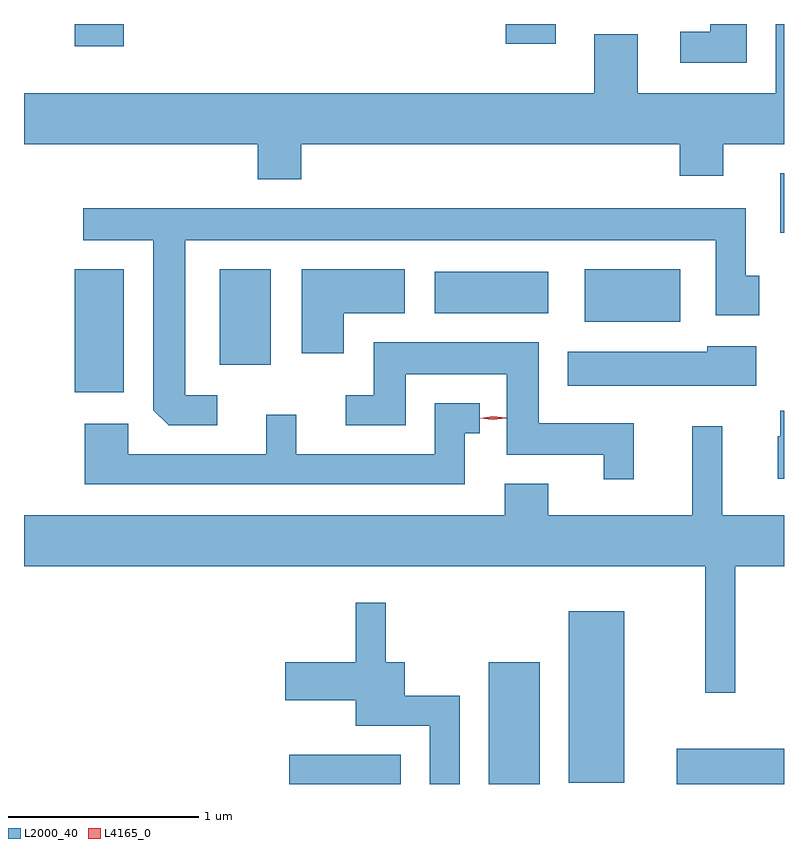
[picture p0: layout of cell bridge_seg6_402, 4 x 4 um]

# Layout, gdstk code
import gdstk
lib = gdstk.Library(unit=1e-6, precision=1e-09)
def R(c, l, rs):  # rectangles x0, y0, x1, y1
    for r in rs: c.add(gdstk.rectangle(r[:2], r[2:], *l))
def P(c, l, *ps):  # polygons
    for p in ps: c.add(gdstk.Polygon(p, *l))
L2000_40 = (2000, 40)
L4165_0 = (4165, 0)

bridge_seg6_402 = lib.new_cell('bridge_seg6_402')
R(bridge_seg6_402, L2000_40, [(904.226,1606.609,904.814,1606.764), (905.276,1606.609,905.544,1607.249), (906.266,1606.609,906.83,1606.794), (905.696,1606.616,905.989,1607.519), (903.096,1608.671,903.354,1609.319), (903.861,1608.816,904.129,1609.319), (905.781,1609.041,906.284,1609.319), (904.991,1609.086,905.589,1609.304), (906.811,1609.511,906.83,1609.824), (903.096,1610.491,903.354,1610.609), (905.366,1610.506,905.629,1610.609)])
P(bridge_seg6_402, L2000_40, [(906.634,1610.609),(906.441,1610.609),(906.441,1610.569),(906.283,1610.569),(906.283,1610.406),(906.634,1610.406)],
  [(904.289,1609.976),(906.281,1609.976),(906.281,1609.811),(906.509,1609.811),(906.509,1609.976),(906.83,1609.976),(906.83,1610.609),(906.786,1610.609),(906.786,1610.244),(906.059,1610.244),(906.059,1610.554),(905.831,1610.554),(905.831,1610.244),(902.83,1610.244),(902.83,1609.976),(904.061,1609.976),(904.061,1609.791),(904.289,1609.791)],
  [(903.848,1608.654),(903.679,1608.654),(903.679,1609.471),(906.471,1609.471),(906.471,1609.076),(906.699,1609.076),(906.699,1609.284),(906.629,1609.284),(906.629,1609.639),(903.143,1609.639),(903.143,1609.471),(903.511,1609.471),(903.511,1608.577),(903.592,1608.496),(903.848,1608.496)],
  [(904.514,1609.086),(904.834,1609.086),(904.834,1609.319),(904.291,1609.319),(904.291,1608.876),(904.514,1608.876)],
  [(906.039,1608.509),(905.539,1608.509),(905.539,1608.934),(904.671,1608.934),(904.671,1608.654),(904.523,1608.654),(904.523,1608.496),(904.839,1608.496),(904.839,1608.766),(905.371,1608.766),(905.371,1608.341),(905.881,1608.341),(905.881,1608.213),(906.039,1608.213)],
  [(906.684,1608.914),(906.426,1608.914),(906.426,1608.884),(905.691,1608.884),(905.691,1608.706),(906.684,1608.706)],
  [(905.149,1608.456),(905.228,1608.456),(905.228,1608.614),(904.991,1608.614),(904.991,1608.344),(904.264,1608.344),(904.264,1608.553),(904.106,1608.553),(904.106,1608.344),(903.379,1608.344),(903.379,1608.504),(903.151,1608.504),(903.151,1608.186),(905.149,1608.186)],
  [(906.83,1608.574),(906.811,1608.574),(906.811,1608.44),(906.796,1608.44),(906.796,1608.216),(906.83,1608.216)],
  [(906.574,1607.756),(906.83,1607.756),(906.83,1608.024),(906.504,1608.024),(906.504,1608.493),(906.346,1608.493),(906.346,1608.024),(905.589,1608.024),(905.589,1608.189),(905.361,1608.189),(905.361,1608.024),(902.83,1608.024),(902.83,1607.756),(906.416,1607.756),(906.416,1607.088),(906.574,1607.088)],
  [(905.124,1607.074),(904.834,1607.074),(904.834,1607.249),(904.734,1607.249),(904.734,1607.563),(904.576,1607.563),(904.576,1607.249),(904.206,1607.249),(904.206,1607.051),(904.576,1607.051),(904.576,1606.916),(904.966,1606.916),(904.966,1606.609),(905.124,1606.609)])
P(bridge_seg6_402, L4165_0, [(905.298,1608.525),(905.229,1608.534),(905.229,1608.535),(905.229,1608.535),(905.298,1608.545),(905.368,1608.536),(905.368,1608.536),(905.368,1608.535)])

lib.write_gds('bridge_seg6_402.gds')
